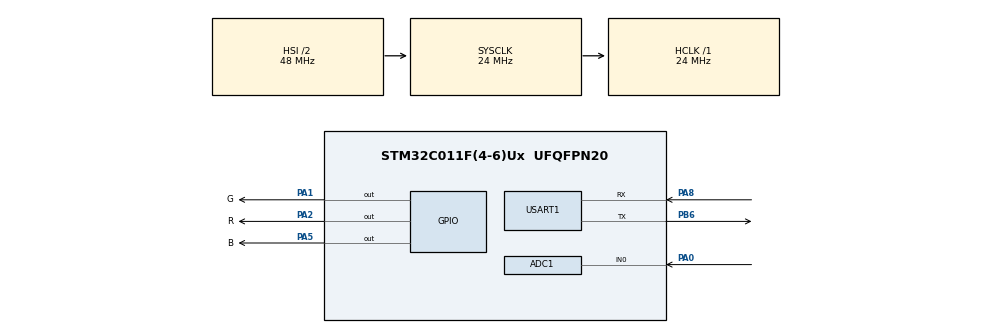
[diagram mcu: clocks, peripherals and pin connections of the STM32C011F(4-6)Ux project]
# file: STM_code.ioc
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ADC1.ContinuousConvMode=DISABLE
ADC1.DMAContinuousRequests=DISABLE
ADC1.NbrOfConversionFlag=0
ADC1.SelectedChannel=ADC_CHANNEL_0
ADC1.master=1
Mcu.Family=STM32C0
Mcu.Name=STM32C011F(4-6)Ux
Mcu.Package=UFQFPN20
PA0.Mode=IN0
PA0.Signal=ADC1_IN0
PA1.GPIO_Label=G
PA1.PinState=GPIO_PIN_SET
PA1.Signal=GPIO_Output
PA2.GPIO_Label=R
PA2.PinState=GPIO_PIN_SET
PA2.Signal=GPIO_Output
PA5.GPIO_Label=B
PA5.PinState=GPIO_PIN_SET
PA5.Signal=GPIO_Output
PA8.Mode=Asynchronous
PA8.Signal=USART1_RX
PB6.Mode=Asynchronous
PB6.Signal=USART1_TX
ProjectManager.HeapSize=0x200
ProjectManager.StackSize=0x400
ProjectManager.TargetToolchain=STM32CubeIDE
RCC.ADCFreq_Value=24000000
RCC.AHBFreq_Value=24000000
RCC.CortexFreq_Value=24000000
RCC.EXTERNAL_CLOCK_VALUE=12288000
RCC.HCLKFreq_Value=24000000
RCC.HSE_VALUE=8000000
RCC.HSISYSCLKDivider=RCC_HSI_DIV2
RCC.HSI_VALUE=48000000
RCC.LSE_VALUE=32768
RCC.SYSCLKFreq_VALUE=24000000
USART1.VirtualMode-Asynchronous=VM_ASYNC
board=custom

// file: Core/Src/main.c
/* USER CODE BEGIN Header */
/**
  ******************************************************************************
  * @file           : main.c
  * @brief          : Main program body
  ******************************************************************************
  * @attention
  *
  * Copyright (c) 2025 STMicroelectronics.
  * All rights reserved.
  *
  * This software is licensed under terms that can be found in the LICENSE file
  * in the root directory of this software component.
  * If no LICENSE file comes with this software, it is provided AS-IS.
  *
  ******************************************************************************
  */
/* USER CODE END Header */
#include "main.h"

/* USER CODE BEGIN Includes */
#include <stdio.h>

/* USER CODE END Includes */

/* USER CODE BEGIN PD */
#define AVERAGE_SAMPLES 300
#define EVALUATE_INTERVAL_MS 500  // e.g. every  0.5 seconds
#define LOWER_LEVEL 1.6f
#define UPPER_LEVEL 1.9f
#define ADC_Received 0x01
#define Resistor 8.20
#define Voltage 5.0
#define INITIAL_DELAY 100 // time it waits before getting current values (miliseconds)
/* USER CODE END PD */

ADC_HandleTypeDef hadc1;

UART_HandleTypeDef huart1;

/* USER CODE BEGIN PV */
uint16_t adc_sample_buffer[AVERAGE_SAMPLES];
uint32_t average = 0x00;
uint32_t sample_index = 0;
uint8_t buffer_filled = 0;
uint32_t last_eval_tick = 0;
volatile uint16_t adc_dma_value = 0;  // Last ADC value
uint32_t lastPrintTick = 0;
uint16_t adc_buffer[1];  // Single conversion buffer
uint8_t flag = 0x0;
float mA = 0;
float V = 0;
uint16_t adc_val = 0x00;
/* USER CODE END PV */

void SystemClock_Config(void);
static void MX_GPIO_Init(void);
static void MX_ADC1_Init(void);
static void MX_USART1_UART_Init(void);

int main(void)
{

  /* MCU Configuration--------------------------------------------------------*/

  /* Reset of all peripherals, Initializes the Flash interface and the Systick. */
  HAL_Init();

  /* Configure the system clock */
  SystemClock_Config();

  /* Initialize all configured peripherals */
  MX_GPIO_Init();
  MX_ADC1_Init();
  MX_USART1_UART_Init();
  /* USER CODE BEGIN 2 */
//  HAL_GPIO_WritePin(R_GPIO_Port, R_Pin, GPIO_PIN_RESET);
  HAL_GPIO_WritePin(G_GPIO_Port, G_Pin, GPIO_PIN_SET);
  HAL_GPIO_WritePin(B_GPIO_Port, B_Pin, GPIO_PIN_SET);
  HAL_GPIO_WritePin(R_GPIO_Port, R_Pin, GPIO_PIN_SET);
//  HAL_Delay(INITIAL_DELAY);
  /* USER CODE END 2 */

  /* Infinite loop */
  while (1)
  {

    /* USER CODE BEGIN 3 */

	  HAL_ADC_Start(&hadc1);
	  if (HAL_ADC_PollForConversion(&hadc1, HAL_MAX_DELAY) == HAL_OK)
	  {
		  adc_val = HAL_ADC_GetValue(&hadc1);
//		  mA = 3.3f * (adc_val/4096.0f);
		  for (int i = 0; i < AVERAGE_SAMPLES - 1; i++) {
		      adc_sample_buffer[i] = adc_sample_buffer[i + 1];
		  }

		  // Place new value at the end
		  adc_sample_buffer[AVERAGE_SAMPLES - 1] = adc_val;
		  average = 0;
		  for(int i = 0; i<AVERAGE_SAMPLES;i++){
			  average += adc_sample_buffer[i];
		  }
		  average = (average/AVERAGE_SAMPLES);
		  V = 3.3f * (average/4096.0f);
		  mA = V/(Resistor*200);
	  }

	  // Evaluate average and toggle GPIO after delay
	  if ((HAL_GetTick() - last_eval_tick) >= EVALUATE_INTERVAL_MS)
	  {
		  last_eval_tick = HAL_GetTick();
		  // Set only one pin based on thresholds
		  if (mA < LOWER_LEVEL)
			  HAL_GPIO_WritePin(R_GPIO_Port, R_Pin, GPIO_PIN_RESET);
		  else if (mA<UPPER_LEVEL)
			  HAL_GPIO_WritePin(G_GPIO_Port, G_Pin, GPIO_PIN_RESET);
		  else
			  HAL_GPIO_WritePin(B_GPIO_Port, B_Pin, GPIO_PIN_RESET);
	  }
  }
  /* USER CODE END 3 */
}

void SystemClock_Config(void)
{
  RCC_OscInitTypeDef RCC_OscInitStruct = {0};
  RCC_ClkInitTypeDef RCC_ClkInitStruct = {0};

  __HAL_FLASH_SET_LATENCY(FLASH_LATENCY_0);

  /** Initializes the RCC Oscillators according to the specified parameters
  * in the RCC_OscInitTypeDef structure.
  */
  RCC_OscInitStruct.OscillatorType = RCC_OSCILLATORTYPE_HSI;
  RCC_OscInitStruct.HSIState = RCC_HSI_ON;
  RCC_OscInitStruct.HSIDiv = RCC_HSI_DIV2;
  RCC_OscInitStruct.HSICalibrationValue = RCC_HSICALIBRATION_DEFAULT;
  if (HAL_RCC_OscConfig(&RCC_OscInitStruct) != HAL_OK)
  {
    Error_Handler();
  }

  /** Initializes the CPU, AHB and APB buses clocks
  */
  RCC_ClkInitStruct.ClockType = RCC_CLOCKTYPE_HCLK|RCC_CLOCKTYPE_SYSCLK
                              |RCC_CLOCKTYPE_PCLK1;
  RCC_ClkInitStruct.SYSCLKSource = RCC_SYSCLKSOURCE_HSI;
  RCC_ClkInitStruct.SYSCLKDivider = RCC_SYSCLK_DIV1;
  RCC_ClkInitStruct.AHBCLKDivider = RCC_HCLK_DIV1;
  RCC_ClkInitStruct.APB1CLKDivider = RCC_APB1_DIV1;

  if (HAL_RCC_ClockConfig(&RCC_ClkInitStruct, FLASH_LATENCY_0) != HAL_OK)
  {
    Error_Handler();
  }
}

static void MX_ADC1_Init(void)
{

  ADC_ChannelConfTypeDef sConfig = {0};

  /** Configure the global features of the ADC (Clock, Resolution, Data Alignment and number of conversion)
  */
  hadc1.Instance = ADC1;
  hadc1.Init.ClockPrescaler = ADC_CLOCK_SYNC_PCLK_DIV1;
  hadc1.Init.Resolution = ADC_RESOLUTION_12B;
  hadc1.Init.DataAlign = ADC_DATAALIGN_RIGHT;
  hadc1.Init.ScanConvMode = ADC_SCAN_SEQ_FIXED;
  hadc1.Init.EOCSelection = ADC_EOC_SINGLE_CONV;
  hadc1.Init.LowPowerAutoWait = DISABLE;
  hadc1.Init.LowPowerAutoPowerOff = DISABLE;
  hadc1.Init.ContinuousConvMode = DISABLE;
  hadc1.Init.NbrOfConversion = 1;
  hadc1.Init.DiscontinuousConvMode = DISABLE;
  hadc1.Init.ExternalTrigConv = ADC_SOFTWARE_START;
  hadc1.Init.ExternalTrigConvEdge = ADC_EXTERNALTRIGCONVEDGE_NONE;
  hadc1.Init.DMAContinuousRequests = DISABLE;
  hadc1.Init.Overrun = ADC_OVR_DATA_PRESERVED;
  hadc1.Init.SamplingTimeCommon1 = ADC_SAMPLETIME_1CYCLE_5;
  hadc1.Init.OversamplingMode = DISABLE;
  hadc1.Init.TriggerFrequencyMode = ADC_TRIGGER_FREQ_HIGH;
  if (HAL_ADC_Init(&hadc1) != HAL_OK)
  {
    Error_Handler();
  }

  /** Configure Regular Channel
  */
  sConfig.Channel = ADC_CHANNEL_0;
  sConfig.Rank = ADC_RANK_CHANNEL_NUMBER;
  if (HAL_ADC_ConfigChannel(&hadc1, &sConfig) != HAL_OK)
  {
    Error_Handler();
  }

}

static void MX_USART1_UART_Init(void)
{

  huart1.Instance = USART1;
  huart1.Init.BaudRate = 115200;
  huart1.Init.WordLength = UART_WORDLENGTH_8B;
  huart1.Init.StopBits = UART_STOPBITS_1;
  huart1.Init.Parity = UART_PARITY_NONE;
  huart1.Init.Mode = UART_MODE_TX_RX;
  huart1.Init.HwFlowCtl = UART_HWCONTROL_NONE;
  huart1.Init.OverSampling = UART_OVERSAMPLING_16;
  huart1.Init.OneBitSampling = UART_ONE_BIT_SAMPLE_DISABLE;
  huart1.Init.ClockPrescaler = UART_PRESCALER_DIV1;
  huart1.AdvancedInit.AdvFeatureInit = UART_ADVFEATURE_NO_INIT;
  if (HAL_UART_Init(&huart1) != HAL_OK)
  {
    Error_Handler();
  }
  if (HAL_UARTEx_SetTxFifoThreshold(&huart1, UART_TXFIFO_THRESHOLD_1_8) != HAL_OK)
  {
    Error_Handler();
  }
  if (HAL_UARTEx_SetRxFifoThreshold(&huart1, UART_RXFIFO_THRESHOLD_1_8) != HAL_OK)
  {
    Error_Handler();
  }
  if (HAL_UARTEx_DisableFifoMode(&huart1) != HAL_OK)
  {
    Error_Handler();
  }

}

static void MX_GPIO_Init(void)
{
  GPIO_InitTypeDef GPIO_InitStruct = {0};

  /* GPIO Ports Clock Enable */
  __HAL_RCC_GPIOA_CLK_ENABLE();
  __HAL_RCC_GPIOB_CLK_ENABLE();

  /*Configure GPIO pin Output Level */
  HAL_GPIO_WritePin(GPIOA, G_Pin|R_Pin|B_Pin, GPIO_PIN_SET);

  /*Configure GPIO pins : G_Pin R_Pin B_Pin */
  GPIO_InitStruct.Pin = G_Pin|R_Pin|B_Pin;
  GPIO_InitStruct.Mode = GPIO_MODE_OUTPUT_PP;
  GPIO_InitStruct.Pull = GPIO_NOPULL;
  GPIO_InitStruct.Speed = GPIO_SPEED_FREQ_LOW;
  HAL_GPIO_Init(GPIOA, &GPIO_InitStruct);

}

/* USER CODE BEGIN 4 */
void HAL_ADC_ConvCpltCallback(ADC_HandleTypeDef* hadc)
{
  if (hadc->Instance == ADC1)
  {
    adc_sample_buffer[sample_index++] = adc_buffer[0];
    flag |= ADC_Received;
    mA = 3.3 * (adc_buffer[0]/4096);
    if (sample_index >= AVERAGE_SAMPLES) {
      sample_index = 0;
      buffer_filled = 1;
    }
  }
}

/* USER CODE END 4 */

void Error_Handler(void)
{
  __disable_irq();
  while (1)
  {
  }
}
